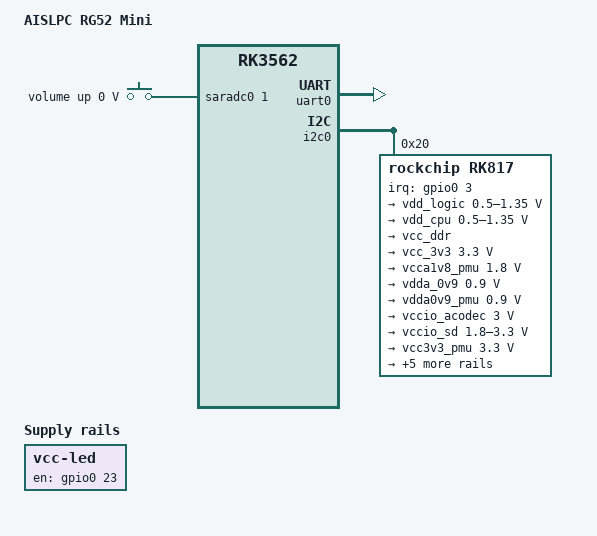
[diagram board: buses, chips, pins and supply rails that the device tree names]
// SPDX-License-Identifier: GPL-2.0+
/*
 * AISLPC RG52 Mini, RK3562
 *
 * Дерево отладочной платы плюс то, что есть на этом устройстве:
 * PMIC RK817 с регуляторами, счётчиком заряда, зарядным устройством и
 * кнопкой питания, а также режим зарядки.
 *
 * Значения сняты с работающей прошивки (дерево U-Boot из образа SyachOS)
 * и сверены с деревом ядра.
 *
 * Консоль выведена в uart0: именно он выведен на площадки платы. У Rockchip
 * в дереве отладочной платы консоль идёт в uart2, которого здесь снаружи нет.
 * Скорость 115200, потому что 1,5 Мбод умеют не все переходники.
 */

/dts-v1/;
#include "rk3562.dtsi"
#include "rk3562-u-boot.dtsi"
#include <dt-bindings/input/input.h>
#include <dt-bindings/gpio/gpio.h>
#include <dt-bindings/interrupt-controller/irq.h>

/ {
	model = "AISLPC RG52 Mini";
	compatible = "rockchip,rk3562-rg52mini", "rockchip,rk3562";

	chosen {
		stdout-path = &uart0;
	};

	adc-keys {
		compatible = "adc-keys";
		io-channels = <&saradc0 1>;
		io-channel-names = "buttons";
		keyup-threshold-microvolt = <1800000>;
		u-boot,dm-pre-reloc;
		status = "okay";

		volumeup-key {
			u-boot,dm-pre-reloc;
			linux,code = <KEY_VOLUMEUP>;
			label = "volume up";
			press-threshold-microvolt = <9>;
		};
	};

	led-vcc {
		compatible = "regulator-fixed";
		regulator-name = "vcc-led";
		gpios = <&gpio0 23 GPIO_ACTIVE_HIGH>;
		enable-active-high;
		u-boot,dm-pre-reloc;
	};

	charge-animation {
		u-boot,dm-pre-reloc;
		compatible = "rockchip,uboot-charge";
		rockchip,uboot-charge-on = <1>;
		rockchip,android-charge-on = <0>;
		rockchip,uboot-low-power-voltage = <3450>;
		rockchip,screen-on-voltage = <3500>;
		status = "okay";
	};
};

&uart0 {
	clock-frequency = <24000000>;
	u-boot,dm-spl;
	status = "okay";
};

&i2c0 {
	status = "okay";
	u-boot,dm-pre-reloc;

	rk817: pmic@20 {
		compatible = "rockchip,rk817";
		reg = <0x20>;
		interrupt-parent = <&gpio0>;
		interrupts = <3 IRQ_TYPE_LEVEL_LOW>;
		rockchip,system-power-controller;
		#clock-cells = <1>;
		status = "okay";
		u-boot,dm-pre-reloc;

		pwrkey {
			u-boot,dm-pre-reloc;
			status = "okay";
		};

		regulators {
			u-boot,dm-pre-reloc;
			vdd_logic: DCDC_REG1 {
				u-boot,dm-pre-reloc;
				regulator-always-on;
				regulator-boot-on;
				regulator-min-microvolt = <500000>;
				regulator-max-microvolt = <1350000>;
				regulator-init-microvolt = <950000>;
				regulator-ramp-delay = <6001>;
				regulator-initial-mode = <0x2>;
				regulator-name = "vdd_logic";
				regulator-state-mem {
					u-boot,dm-pre-reloc;
					regulator-off-in-suspend;
					regulator-suspend-microvolt = <900000>;
				};
			};

			vdd_cpu: DCDC_REG2 {
				u-boot,dm-pre-reloc;
				regulator-always-on;
				regulator-boot-on;
				regulator-min-microvolt = <500000>;
				regulator-max-microvolt = <1350000>;
				regulator-init-microvolt = <1050000>;
				regulator-ramp-delay = <6001>;
				regulator-initial-mode = <0x2>;
				regulator-name = "vdd_cpu";
				regulator-state-mem {
					u-boot,dm-pre-reloc;
					regulator-off-in-suspend;
				};
			};

			vcc_ddr: DCDC_REG3 {
				u-boot,dm-pre-reloc;
				regulator-always-on;
				regulator-boot-on;
				regulator-initial-mode = <0x2>;
				regulator-name = "vcc_ddr";
				regulator-state-mem {
					u-boot,dm-pre-reloc;
					regulator-on-in-suspend;
				};
			};

			vcc_3v3: DCDC_REG4 {
				u-boot,dm-pre-reloc;
				regulator-always-on;
				regulator-boot-on;
				regulator-min-microvolt = <3300000>;
				regulator-max-microvolt = <3300000>;
				regulator-initial-mode = <0x2>;
				regulator-name = "vcc_3v3";
				regulator-state-mem {
					u-boot,dm-pre-reloc;
					regulator-on-in-suspend;
					regulator-suspend-microvolt = <3300000>;
				};
			};

			vcca1v8_pmu: LDO_REG1 {
				u-boot,dm-pre-reloc;
				regulator-always-on;
				regulator-boot-on;
				regulator-min-microvolt = <1800000>;
				regulator-max-microvolt = <1800000>;
				regulator-name = "vcca1v8_pmu";
				regulator-state-mem {
					u-boot,dm-pre-reloc;
					regulator-on-in-suspend;
					regulator-suspend-microvolt = <1800000>;
				};
			};

			vdda_0v9: LDO_REG2 {
				u-boot,dm-pre-reloc;
				regulator-always-on;
				regulator-boot-on;
				regulator-min-microvolt = <900000>;
				regulator-max-microvolt = <900000>;
				regulator-name = "vdda_0v9";
				regulator-state-mem {
					u-boot,dm-pre-reloc;
					regulator-off-in-suspend;
				};
			};

			vdda0v9_pmu: LDO_REG3 {
				u-boot,dm-pre-reloc;
				regulator-always-on;
				regulator-boot-on;
				regulator-min-microvolt = <900000>;
				regulator-max-microvolt = <900000>;
				regulator-name = "vdda0v9_pmu";
				regulator-state-mem {
					u-boot,dm-pre-reloc;
					regulator-on-in-suspend;
					regulator-suspend-microvolt = <900000>;
				};
			};

			vccio_acodec: LDO_REG4 {
				u-boot,dm-pre-reloc;
				regulator-always-on;
				regulator-boot-on;
				regulator-min-microvolt = <3000000>;
				regulator-max-microvolt = <3000000>;
				regulator-name = "vccio_acodec";
				regulator-state-mem {
					u-boot,dm-pre-reloc;
					regulator-off-in-suspend;
				};
			};

			vccio_sd: LDO_REG5 {
				u-boot,dm-pre-reloc;
				regulator-always-on;
				regulator-boot-on;
				regulator-min-microvolt = <1800000>;
				regulator-max-microvolt = <3300000>;
				regulator-name = "vccio_sd";
				regulator-state-mem {
					u-boot,dm-pre-reloc;
					regulator-off-in-suspend;
				};
			};

			vcc3v3_pmu: LDO_REG6 {
				u-boot,dm-pre-reloc;
				regulator-always-on;
				regulator-boot-on;
				regulator-min-microvolt = <3300000>;
				regulator-max-microvolt = <3300000>;
				regulator-name = "vcc3v3_pmu";
				regulator-state-mem {
					u-boot,dm-pre-reloc;
					regulator-on-in-suspend;
					regulator-suspend-microvolt = <3000000>;
				};
			};

			vcc_1v8: LDO_REG7 {
				u-boot,dm-pre-reloc;
				regulator-always-on;
				regulator-boot-on;
				regulator-min-microvolt = <1800000>;
				regulator-max-microvolt = <1800000>;
				regulator-name = "vcc_1v8";
				regulator-state-mem {
					u-boot,dm-pre-reloc;
					regulator-off-in-suspend;
				};
			};

			vcc1v8_dvp: LDO_REG8 {
				u-boot,dm-pre-reloc;
				regulator-min-microvolt = <1800000>;
				regulator-max-microvolt = <1800000>;
				regulator-name = "vcc1v8_dvp";
				regulator-state-mem {
					u-boot,dm-pre-reloc;
					regulator-off-in-suspend;
				};
			};

			vcc2v8_dvp: LDO_REG9 {
				u-boot,dm-pre-reloc;
				regulator-min-microvolt = <2800000>;
				regulator-max-microvolt = <2800000>;
				regulator-name = "vcc2v8_dvp";
				regulator-state-mem {
					u-boot,dm-pre-reloc;
					regulator-off-in-suspend;
				};
			};

			boost: BOOST {
				u-boot,dm-pre-reloc;
				regulator-always-on;
				regulator-boot-on;
				regulator-min-microvolt = <4700000>;
				regulator-max-microvolt = <5400000>;
				regulator-name = "boost";
				regulator-state-mem {
					u-boot,dm-pre-reloc;
					regulator-off-in-suspend;
				};
			};

			otg_switch: OTG_SWITCH {
				u-boot,dm-pre-reloc;
				regulator-name = "otg_switch";
				regulator-state-mem {
					u-boot,dm-pre-reloc;
					regulator-off-in-suspend;
				};
			};
		};

		battery {
			u-boot,dm-pre-reloc;
			compatible = "rk817,battery";
			ocv_table = <3500 3528 3565 3597 3626 3654 3689 3733
				     3776 3812 3845 3876 3910 3952 3990 4015
				     4034 4069 4090 4113 4173>;
			design_capacity = <4654>;
			design_qmax = <5119>;
			bat_res = <78>;
			sleep_enter_current = <300>;
			sleep_exit_current = <300>;
			sleep_filter_current = <100>;
			power_off_thresd = <2800>;
			zero_algorithm_vol = <3850>;
			max_soc_offset = <60>;
			monitor_sec = <5>;
			sample_res = <10>;
			virtual_power = <0>;
			pinctrl-names = "default";
			pinctrl-0 = <&charge_led_gpio>;
			charge_red_gpio = <&gpio3 1 GPIO_ACTIVE_HIGH>;
			charge_green_gpio = <&gpio3 0 GPIO_ACTIVE_HIGH>;
		};

		charger {
			u-boot,dm-pre-reloc;
			compatible = "rk817,charger";
			min_input_voltage = <4500>;
			max_input_current = <3000>;
			max_chrg_current = <2000>;
			max_chrg_voltage = <4300>;
			chrg_term_mode = <0>;
			chrg_finish_cur = <300>;
			virtual_power = <0>;
			dc_det_adc = <0>;
			otg5v_suspend_enable = <1>;
			gate_function_disable = <1>;
		};
	};
};

&i2c0_xfer {
	u-boot,dm-pre-reloc;
};

&pinctrl {
	charge-led {
		charge_led_gpio: charge-led-gpio {
			rockchip,pins = <3 RK_PA0 RK_FUNC_GPIO &pcfg_pull_none>,
					<3 RK_PA1 RK_FUNC_GPIO &pcfg_pull_none>;
			u-boot,dm-pre-reloc;
		};
	};
};

&pcfg_pull_none_smt {
	u-boot,dm-pre-reloc;
};
